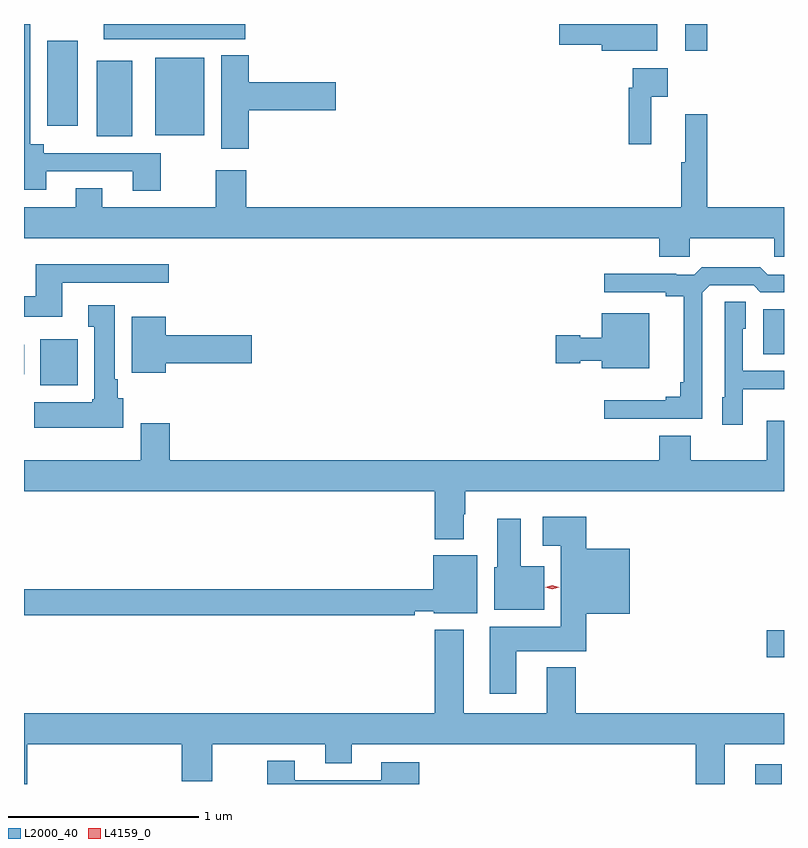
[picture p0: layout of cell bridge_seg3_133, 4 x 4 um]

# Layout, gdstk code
import gdstk
lib = gdstk.Library(unit=1e-6, precision=1e-09)
def R(c, l, rs):  # rectangles x0, y0, x1, y1
    for r in rs: c.add(gdstk.rectangle(r[:2], r[2:], *l))
def P(c, l, *ps):  # polygons
    for p in ps: c.add(gdstk.Polygon(p, *l))
L2000_40 = (2000, 40)
L4159_0 = (4159, 0)

bridge_seg3_133 = lib.new_cell('bridge_seg3_133')
R(bridge_seg3_133, L2000_40, [(362.855,668.74,362.995,668.845), (362.916,669.406,363.007,669.548), (359.093,670.838,359.29,671.08), (359.007,670.897,359.008,671.053), (362.897,671.003,363.007,671.239), (359.39,672.149,359.578,672.547), (359.699,672.155,359.956,672.562), (359.129,672.204,359.29,672.652), (362.486,672.6,362.603,672.74), (359.427,672.66,360.172,672.74)])
P(bridge_seg3_133, L2000_40, [(362.341,672.74),(361.824,672.74),(361.824,672.632),(362.048,672.632),(362.048,672.599),(362.341,672.599)],
  [(359.727,672.06),(359.11,672.06),(359.11,672.106),(359.04,672.106),(359.04,672.74),(359.007,672.74),(359.007,671.868),(359.125,671.868),(359.125,671.964),(359.579,671.964),(359.579,671.862),(359.727,671.862)],
  [(360.191,672.287),(360.649,672.287),(360.649,672.434),(360.191,672.434),(360.191,672.575),(360.044,672.575),(360.044,672.084),(360.191,672.084)],
  [(362.309,672.356),(362.395,672.356),(362.395,672.508),(362.211,672.508),(362.211,672.404),(362.191,672.404),(362.191,672.108),(362.309,672.108)],
  [(362.511,671.612),(362.956,671.612),(362.956,671.514),(363.007,671.514),(363.007,671.776),(362.603,671.776),(362.603,672.265),(362.486,672.265),(362.486,672.012),(362.467,672.012),(362.467,671.776),(360.176,671.776),(360.176,671.971),(360.016,671.971),(360.016,671.776),(359.419,671.776),(359.419,671.875),(359.279,671.875),(359.279,671.776),(359.007,671.776),(359.007,671.612),(362.351,671.612),(362.351,671.514),(362.511,671.514)],
  [(359.209,671.379),(359.77,671.379),(359.77,671.476),(359.069,671.476),(359.069,671.308),(359.007,671.308),(359.007,671.198),(359.209,671.198)],
  [(362.577,671.325),(362.616,671.364),(362.847,671.364),(362.883,671.328),(363.007,671.328),(363.007,671.421),(362.922,671.421),(362.883,671.461),(362.575,671.461),(362.535,671.421),(362.441,671.421),(362.441,671.426),(362.061,671.426),(362.061,671.328),(362.384,671.328),(362.384,671.306),(362.48,671.306),(362.48,670.855),(362.461,670.855),(362.461,670.778),(362.384,670.778),(362.384,670.759),(362.061,670.759),(362.061,670.662),(362.577,670.662)],
  [(362.79,670.817),(363.007,670.817),(363.007,670.914),(362.79,670.914),(362.79,671.136),(362.806,671.136),(362.806,671.279),(362.694,671.279),(362.694,670.776),(362.681,670.776),(362.681,670.632),(362.79,670.632)],
  [(359.53,670.77),(359.5,670.77),(359.5,670.87),(359.485,670.87),(359.485,671.26),(359.345,671.26),(359.345,671.147),(359.378,671.147),(359.378,670.764),(359.365,670.764),(359.365,670.75),(359.061,670.75),(359.061,670.616),(359.53,670.616)],
  [(362.299,671.218),(362.048,671.218),(362.048,671.089),(361.935,671.089),(361.935,671.102),(361.806,671.102),(361.806,670.955),(361.935,670.955),(361.935,670.967),(362.048,670.967),(362.048,670.928),(362.299,670.928)],
  [(359.752,670.955),(360.205,670.955),(360.205,671.102),(359.752,671.102),(359.752,671.2),(359.573,671.2),(359.573,670.904),(359.752,670.904)],
  [(361.321,670.16),(361.329,670.16),(361.329,670.28),(363.007,670.28),(363.007,670.651),(362.915,670.651),(362.915,670.444),(362.515,670.444),(362.515,670.573),(362.351,670.573),(362.351,670.444),(359.774,670.444),(359.774,670.639),(359.621,670.639),(359.621,670.444),(359.007,670.444),(359.007,670.28),(361.169,670.28),(361.169,670.028),(361.321,670.028)],
  [(361.597,669.44),(361.967,669.44),(361.967,669.635),(362.194,669.635),(362.194,669.979),(361.967,669.979),(361.967,670.147),(361.737,670.147),(361.737,669.995),(361.832,669.995),(361.832,669.568),(361.457,669.568),(361.457,669.216),(361.597,669.216)],
  [(361.744,669.886),(361.621,669.886),(361.621,670.135),(361.499,670.135),(361.499,669.882),(361.481,669.882),(361.481,669.656),(361.744,669.656)],
  [(361.064,669.648),(361.164,669.648),(361.164,669.638),(361.393,669.638),(361.393,669.943),(361.16,669.943),(361.16,669.764),(359.007,669.764),(359.007,669.628),(361.064,669.628)],
  [(359.024,668.948),(359.837,668.948),(359.837,668.754),(359.997,668.754),(359.997,668.948),(360.593,668.948),(360.593,668.849),(360.733,668.849),(360.733,668.948),(362.543,668.948),(362.543,668.74),(362.695,668.74),(362.695,668.948),(363.007,668.948),(363.007,669.112),(361.91,669.112),(361.91,669.355),(361.757,669.355),(361.757,669.112),(361.321,669.112),(361.321,669.553),(361.169,669.553),(361.169,669.112),(359.007,669.112),(359.007,668.74),(359.024,668.74)],
  [(361.088,668.854),(360.887,668.854),(360.887,668.76),(360.433,668.76),(360.433,668.863),(360.286,668.863),(360.286,668.74),(361.088,668.74)])
P(bridge_seg3_133, L4159_0, [(361.787,669.765),(361.75,669.775),(361.75,669.775),(361.75,669.775),(361.787,669.785),(361.824,669.775),(361.824,669.775),(361.824,669.775)])

lib.write_gds('bridge_seg3_133.gds')
